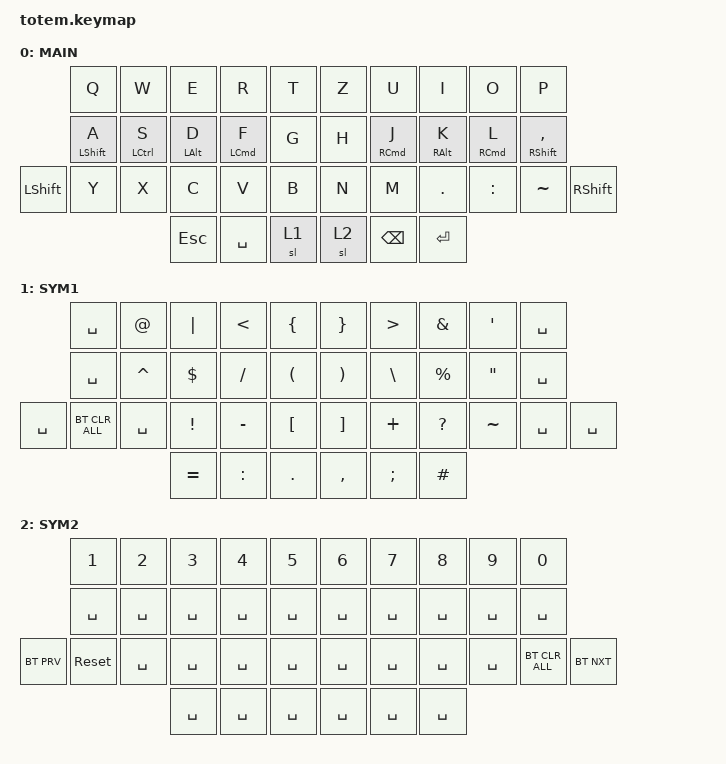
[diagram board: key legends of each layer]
//
//                                                        ▀▀▀▀▀     ▀▀▀▀▀          ▀▀█▀▀
//                                                        ▄▀▀▀▄  ▄  ▄▀▀▀▄  ▄  ▄▀▀▀▄  █  ▄▀▀▀▄
//                                                        █   █  █  █   █  █  █   █  █  █   █
//                                                         ▀▀▀   █   ▀▀▀   █   ▀▀▀   ▀   ▀▀▀
//                                                               █      ▄▄▄█▄▄▄    █   █  
//                                                               ▀      █  █  █     █▄█
//                                                             ▀▀▀▀▀    █  █  █      ▀
//                                                                      ▀  ▀  ▀
//
// ▄▄▄▄▄▄▄▄▄▄▄▄▄▄▄▄▄▄▄▄▄▄▄▄▄▄▄▄▄▄▄▄▄▄▄▄▄▄▄▄▄▄▄▄▄▄▄▄▄▄▄▄▄▄▄▄▄▄▄▄▄▄▄▄▄▄▄▄▄▄▄▄▄▄▄▄▄▄▄▄▄▄▄▄▄▄▄▄▄▄▄▄▄▄▄▄▄▄▄▄▄▄▄▄▄▄▄▄▄▄▄▄▄▄▄▄▄▄▄▄▄▄▄▄▄▄▄▄▄▄▄▄▄▄▄▄▄▄▄▄▄▄▄▄▄▄▄▄▄

#include <behaviors.dtsi>
#include <dt-bindings/zmk/bt.h>
#include <dt-bindings/zmk/keys.h>

#define BASE 0
#define NAV  1
#define SYM  2
#define ADJ  3

&mt {
    quick-tap-ms = <100>;
    global-quick-tap;
    flavor = "tap-preferred";
    tapping-term-ms = <200>;
};

/ {
    combos { compatible = "zmk,combos"; };

    keymap {
        compatible = "zmk,keymap";

        // ▄▄▄▄▄▄▄▄▄▄▄▄▄▄▄▄▄▄▄▄▄▄▄▄▄▄▄▄▄▄▄▄▄▄▄▄▄▄▄▄▄▄▄▄▄▄▄▄▄▄▄▄▄▄▄▄▄▄▄▄▄▄▄▄▄▄▄▄▄▄▄▄▄▄▄▄▄▄▄▄▄▄▄▄▄▄▄▄▄▄▄▄▄▄▄▄▄▄▄▄▄▄▄▄▄▄▄▄▄▄▄▄▄▄▄▄▄▄▄▄▄▄▄▄▄▄▄▄▄▄▄▄▄▄▄▄▄▄▄▄▄▄▄▄▄▄▄▄▄

        QWERTZ {
            // ┏━━━━━━━━━━━━━━━━━━━━━━━━━━━━━━━━━━━━━━━┓

            label = "MAIN";

            // ┗━━━━━━━━━━━━━━━━━━━━━━━━━━━━━━━━━━━━━━━┛
            //             ┏━━━━━━━━━━━┳━━━━━━━━━━━┳━━━━━━━━━━━┳━━━━━━━━━━━┳━━━━━━━━━━━┓   ┏━━━━━━━━━━━┳━━━━━━━━━━━┳━━━━━━━━━━━┳━━━━━━━━━━━┳━━━━━━━━━━━┓
            //             ┃     Q     ┃     W     ┃     F     ┃     P     ┃     G     ┃   ┃     J     ┃     L     ┃     U     ┃     Y     ┃     ;     ┃
            //             ┣━━━━━━━━━━━╋━━━━━━━━━━━╋━━━━━━━━━━━╋━━━━━━━━━━━╋━━━━━━━━━━━┫   ┣━━━━━━━━━━━╋━━━━━━━━━━━╋━━━━━━━━━━━╋━━━━━━━━━━━╋━━━━━━━━━━━┫
            //             ┃     A     ┃     R     ┃     S     ┃     T     ┃     D     ┃   ┃     H     ┃     N     ┃     E     ┃     I     ┃     O     ┃
            // ┏━━━━━━━━━━━╋━━━━━━━━━━━╋━━━━━━━━━━━╋━━━━━━━━━━━╋━━━━━━━━━━━╋━━━━━━━━━━━┫   ┣━━━━━━━━━━━╋━━━━━━━━━━━╋━━━━━━━━━━━╋━━━━━━━━━━━╋━━━━━━━━━━━╋━━━━━━━━━━━┓
            // ┃           ┃     Z     ┃     X     ┃     C     ┃     V     ┃     B     ┃   ┃     K     ┃     M     ┃     ,     ┃     .     ┃     /     ┃           ┃
            // ┗━━━━━━━━━━━┻━━━━━━━━━━━┻━━━━━━━━━━━╋━━━━━━━━━━━╋━━━━━━━━━━━╋━━━━━━━━━━━┫   ┣━━━━━━━━━━━╋━━━━━━━━━━━╋━━━━━━━━━━━╋━━━━━━━━━━━┻━━━━━━━━━━━┻━━━━━━━━━━━┛
            //                                     ┃           ┃    TAB    ┃    SPC    ┃   ┃   ENTER   ┃   BSPC    ┃           ┃
            //                                     ┗━━━━━━━━━━━┻━━━━━━━━━━━┻━━━━━━━━━━━┛   ┗━━━━━━━━━━━┻━━━━━━━━━━━┻━━━━━━━━━━━┛

            bindings = <
                &kp Q        &kp W        &kp E       &kp R       &kp T    &kp Z  &kp U          &kp I       &kp O       &kp P
                &mt LSHFT A  &mt LCTRL S  &mt LALT D  &mt LCMD F  &kp G    &kp H  &mt RCMD J     &mt RALT K  &mt RCMD L  &mt RSHIFT COMMA
&kp LEFT_SHIFT  &kp Y        &kp X        &kp C       &kp V       &kp B    &kp N  &kp M          &kp PERIOD  &kp COLON   &kp TILDE         &kp RIGHT_SHIFT
                                          &kp ESC     &kp SPACE   &sl 1    &sl 2  &kp BACKSPACE  &kp RETURN
            >;
        };

        SYMBOL_LAYER_1 {
            bindings = <
           &kp SPACE       &kp AT_SIGN  &kp PIPE         &kp LESS_THAN  &kp LEFT_BRACE          &kp RIGHT_BRACE        &kp GREATER_THAN  &kp AMPERSAND  &kp SQT            &kp SPACE
           &kp SPACE       &kp CARET    &kp DOLLAR       &kp SLASH      &kp LEFT_PARENTHESIS    &kp RIGHT_PARENTHESIS  &kp BACKSLASH     &kp PERCENT    &kp DOUBLE_QUOTES  &kp SPACE
&kp SPACE  &bt BT_CLR_ALL  &kp SPACE    &kp EXCLAMATION  &kp MINUS      &kp LEFT_BRACKET        &kp RIGHT_BRACKET      &kp PLUS          &kp QUESTION   &kp TILDE          &kp SPACE  &kp SPACE
                                        &kp EQUAL        &kp COLON      &kp PERIOD              &kp COMMA              &kp SEMI          &kp HASH
            >;

            label = "SYM1";
        };

        SYMBOL_LAYER_2 {
            label = "SYM2";
            bindings = <
            &kp N1      &kp N2     &kp N3     &kp N4     &kp N5       &kp N6     &kp N7     &kp N8     &kp N9     &kp N0
            &kp SPACE   &kp SPACE  &kp SPACE  &kp SPACE  &kp SPACE    &kp SPACE  &kp SPACE  &kp SPACE  &kp SPACE  &kp SPACE
&bt BT_PRV  &sys_reset  &kp SPACE  &kp SPACE  &kp SPACE  &kp SPACE    &kp SPACE  &kp SPACE  &kp SPACE  &kp SPACE  &bt BT_CLR_ALL  &bt BT_NXT
                                   &kp SPACE  &kp SPACE  &kp SPACE    &kp SPACE  &kp SPACE  &kp SPACE
            >;
        };

        // ▄▄▄▄▄▄▄▄▄▄▄▄▄▄▄▄▄▄▄▄▄▄▄▄▄▄▄▄▄▄▄▄▄▄▄▄▄▄▄▄▄▄▄▄▄▄▄▄▄▄▄▄▄▄▄▄▄▄▄▄▄▄▄▄▄▄▄▄▄▄▄▄▄▄▄▄▄▄▄▄▄▄▄▄▄▄▄▄▄▄▄▄▄▄▄▄▄▄▄▄▄▄▄▄▄▄▄▄▄▄▄▄▄▄▄▄▄▄▄▄▄▄▄▄▄▄▄▄▄▄▄▄▄▄▄▄▄▄▄▄▄▄▄▄▄▄▄▄▄
        // ▄▄▄▄▄▄▄▄▄▄▄▄▄▄▄▄▄▄▄▄▄▄▄▄▄▄▄▄▄▄▄▄▄▄▄▄▄▄▄▄▄▄▄▄▄▄▄▄▄▄▄▄▄▄▄▄▄▄▄▄▄▄▄▄▄▄▄▄▄▄▄▄▄▄▄▄▄▄▄▄▄▄▄▄▄▄▄▄▄▄▄▄▄▄▄▄▄▄▄▄▄▄▄▄▄▄▄▄▄▄▄▄▄▄▄▄▄▄▄▄▄▄▄▄▄▄▄▄▄▄▄▄▄▄▄▄▄▄▄▄▄▄▄▄▄▄▄▄▄
    };
};
